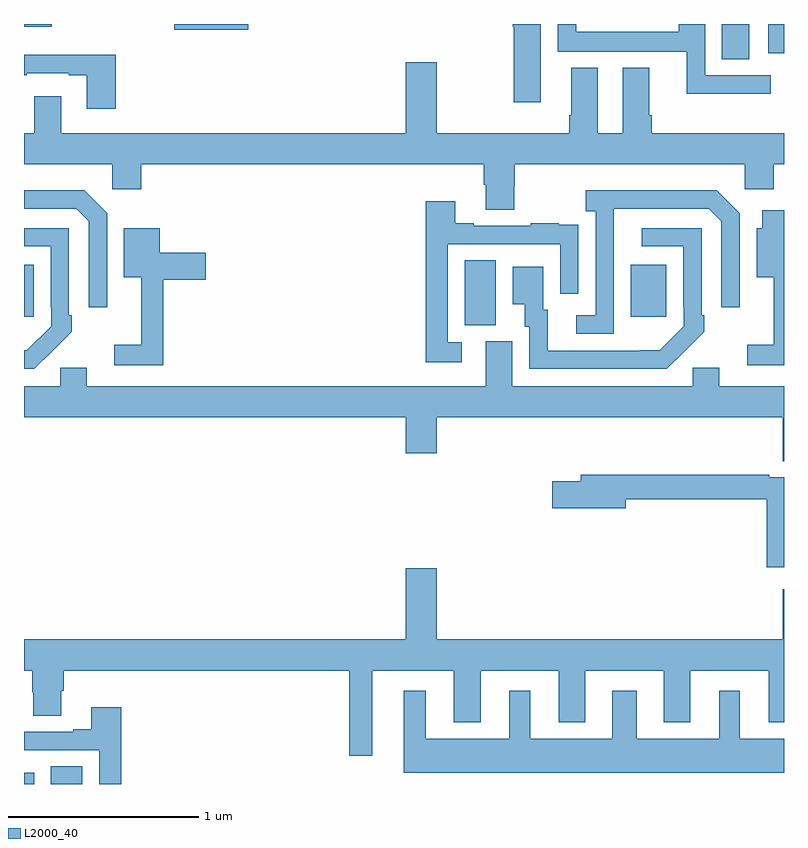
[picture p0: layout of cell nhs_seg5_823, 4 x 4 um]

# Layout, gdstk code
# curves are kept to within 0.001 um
import gdstk
lib = gdstk.Library(unit=1e-6, precision=1e-09)
def R(c, l, rs):  # rectangles x0, y0, x1, y1
    for r in rs: c.add(gdstk.rectangle(r[:2], r[2:], *l))
def P(c, l, *ps):  # polygons
    for p in ps: c.add(gdstk.Polygon(p, *l))
L2000_40 = (2000, 40)

nhs_seg5_823 = lib.new_cell('nhs_seg5_823')
R(nhs_seg5_823, L2000_40, [(163,886.799,163.054,886.858), (163.142,886.799,163.306,886.892), (165.32,889.213,165.484,889.556), (163,889.257,163.051,889.531), (166.193,889.257,166.381,889.531), (166.673,890.614,166.816,890.799), (166.916,890.646,167,890.799), (163.79,890.768,164.179,890.799), (163,890.784,163.147,890.799)])
P(nhs_seg5_823, L2000_40, [(165.721,890.799),(165.572,890.799),(165.572,890.785),(165.577,890.785),(165.577,890.388),(165.721,890.388)],
  [(166.93,890.529),(166.585,890.529),(166.585,890.799),(166.445,890.799),(166.445,890.758),(165.906,890.758),(165.906,890.799),(165.81,890.799),(165.81,890.654),(166.487,890.654),(166.487,890.432),(166.93,890.432)],
  [(163.484,890.638),(163,890.638),(163,890.529),(163.015,890.529),(163.015,890.541),(163.235,890.541),(163.235,890.529),(163.331,890.529),(163.331,890.352),(163.484,890.352)],
  [(165.579,889.947),(165.584,889.947),(165.584,890.06),(166.794,890.06),(166.794,889.929),(166.946,889.929),(166.946,890.06),(167,890.06),(167,890.224),(166.304,890.224),(166.304,890.32),(166.291,890.32),(166.291,890.569),(166.151,890.569),(166.151,890.224),(166.021,890.224),(166.021,890.569),(165.881,890.569),(165.881,890.32),(165.869,890.32),(165.869,890.224),(165.172,890.224),(165.172,890.599),(165.008,890.599),(165.008,890.224),(163.195,890.224),(163.195,890.419),(163.055,890.419),(163.055,890.224),(163,890.224),(163,890.06),(163.464,890.06),(163.464,889.929),(163.616,889.929),(163.616,890.06),(165.419,890.06),(165.419,889.954),(165.431,889.954),(165.431,889.822),(165.579,889.822)],
  [(163.437,889.803),(163.316,889.924),(163,889.924),(163,889.827),(163.275,889.827),(163.341,889.761),(163.341,889.308),(163.437,889.308)],
  [(166.104,889.627),(166.105,889.827),(166.605,889.827),(166.671,889.761),(166.671,889.308),(166.767,889.308),(166.767,889.803),(166.646,889.924),(165.957,889.924),(165.957,889.814),(166.008,889.814),(166.008,889.266),(165.906,889.266),(165.906,889.17),(166.104,889.17)],
  [(165.304,889.125),(165.231,889.125),(165.231,889.641),(165.822,889.641),(165.822,889.38),(165.918,889.38),(165.918,889.634),(165.917,889.634),(165.917,889.743),(165.815,889.743),(165.815,889.75),(165.667,889.75),(165.667,889.737),(165.367,889.737),(165.367,889.75),(165.271,889.75),(165.271,889.867),(165.115,889.867),(165.115,889.02),(165.304,889.02)],
  [(167,889.819),(166.886,889.819),(166.886,889.723),(166.856,889.723),(166.856,889.466),(166.946,889.466),(166.946,889.111),(166.806,889.111),(166.806,889.002),(167,889.002)],
  [(166.475,889.075),(166.476,889.074),(166.581,889.179),(166.581,889.267),(166.566,889.267),(166.566,889.725),(166.251,889.725),(166.251,889.629),(166.47,889.629),(166.47,889.309),(166.473,889.309),(166.473,889.209),(166.345,889.081),(165.757,889.08),(165.757,889.296),(165.733,889.296),(165.733,889.522),(165.572,889.522),(165.572,889.325),(165.635,889.325),(165.635,889.206),(165.66,889.206),(165.66,888.984),(166.384,888.984)],
  [(163.145,889.075),(163.146,889.074),(163.251,889.179),(163.251,889.267),(163.236,889.267),(163.236,889.725),(163,889.725),(163,889.629),(163.14,889.629),(163.14,889.309),(163.143,889.309),(163.143,889.209),(163.015,889.081),(163,889.081),(163,888.984),(163.054,888.984)],
  [(163.733,889.454),(163.957,889.454),(163.957,889.596),(163.714,889.596),(163.714,889.723),(163.526,889.723),(163.526,889.466),(163.616,889.466),(163.616,889.111),(163.476,889.111),(163.476,889.002),(163.733,889.002)],
  [(167,888.892),(166.66,888.892),(166.66,888.99),(166.521,888.99),(166.521,888.892),(165.571,888.892),(165.571,889.128),(165.431,889.128),(165.431,888.892),(163.33,888.892),(163.33,888.99),(163.191,888.99),(163.191,888.892),(163,888.892),(163,888.728),(165.008,888.728),(165.008,888.54),(165.172,888.54),(165.172,888.728),(166.993,888.728),(166.993,888.499),(167,888.499)],
  [(167,888.414),(166.922,888.414),(166.922,888.427),(165.929,888.427),(165.929,888.393),(165.78,888.393),(165.78,888.251),(166.168,888.251),(166.168,888.298),(166.91,888.298),(166.91,887.939),(167,887.939)],
  [(163,887.396),(163.043,887.396),(163.043,887.283),(163.048,887.283),(163.048,887.158),(163.195,887.158),(163.195,887.29),(163.208,887.29),(163.208,887.396),(164.712,887.396),(164.712,886.947),(164.833,886.947),(164.833,887.396),(165.263,887.396),(165.263,887.123),(165.403,887.123),(165.403,887.396),(165.815,887.396),(165.815,887.123),(165.955,887.123),(165.955,887.396),(166.367,887.396),(166.367,887.123),(166.507,887.123),(166.507,887.396),(166.919,887.396),(166.919,887.123),(167,887.123),(167,887.824),(166.993,887.824),(166.993,887.56),(165.172,887.56),(165.172,887.935),(165.008,887.935),(165.008,887.56),(163,887.56)],
  [(167,887.038),(166.768,887.038),(166.768,887.29),(166.658,887.29),(166.658,887.038),(166.225,887.038),(166.225,887.29),(166.097,887.29),(166.097,887.038),(165.664,887.038),(165.664,887.29),(165.554,887.29),(165.554,887.038),(165.115,887.038),(165.115,887.29),(164.999,887.29),(164.999,886.859),(167,886.859)],
  [(163.511,887.203),(163.355,887.203),(163.355,887.086),(163.259,887.086),(163.259,887.073),(163,887.073),(163,886.977),(163.395,886.977),(163.395,886.799),(163.511,886.799)])

lib.write_gds('nhs_seg5_823.gds')
